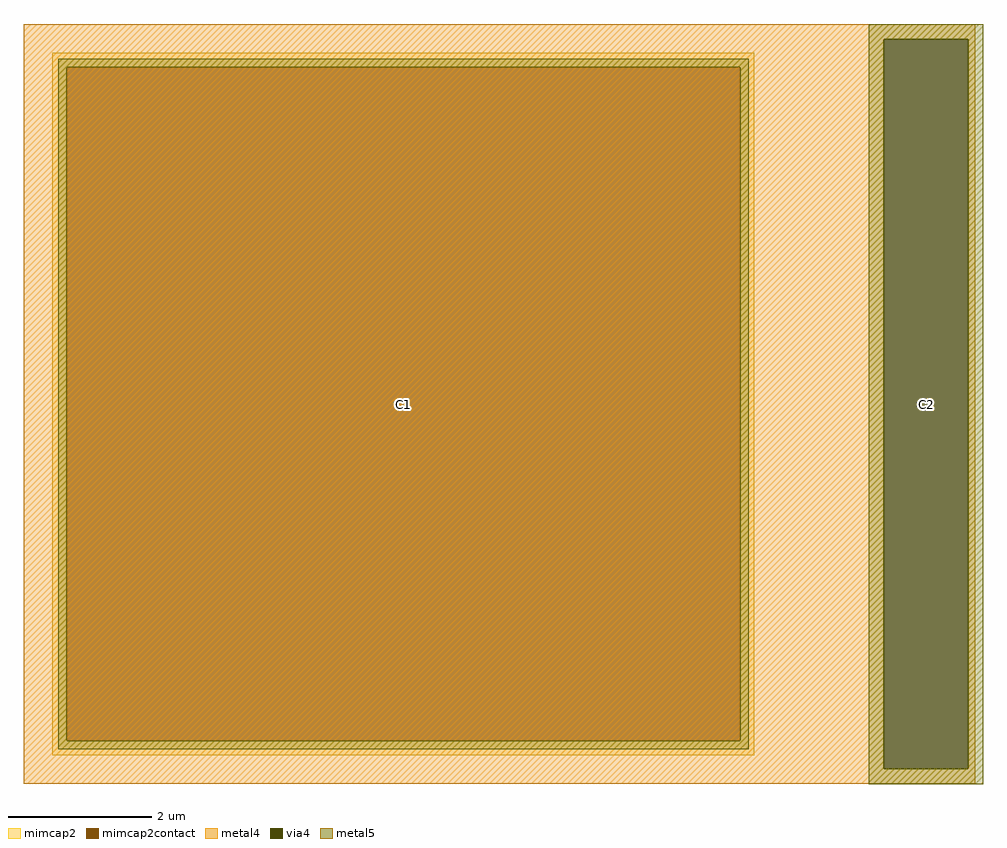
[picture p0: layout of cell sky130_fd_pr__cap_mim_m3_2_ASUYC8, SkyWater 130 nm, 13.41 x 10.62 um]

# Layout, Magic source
magic
tech sky130A
magscale 1 2
<< metal4 >>
rect -1330 1020 1330 1061
rect -1330 -1020 1074 1020
rect 1310 -1020 1330 1020
rect -1330 -1061 1330 -1020
<< via4 >>
rect 1074 -1020 1310 1020
<< mimcap2 >>
rect -1250 941 712 981
rect -1250 -941 -1210 941
rect 672 -941 712 941
rect -1250 -981 712 -941
<< mimcap2contact >>
rect -1210 -941 672 941
<< metal5 >>
rect 1032 1020 1352 1062
rect -1234 941 696 965
rect -1234 -941 -1210 941
rect 672 -941 696 941
rect -1234 -965 696 -941
rect 1032 -1020 1074 1020
rect 1310 -1020 1352 1020
rect 1032 -1062 1352 -1020
<< labels >>
rlabel via4 1192 0 1192 0 0 C2
port 1 nsew
rlabel mimcap2contact -269 0 -269 0 0 C1
port 2 nsew
<< properties >>
string FIXED_BBOX -1330 -1061 792 1061
string gencell sky130_fd_pr__cap_mim_m3_2
string library sky130
string parameters w 9.811 l 9.811 val 200.0 carea 2.00 cperi 0.19 class capacitor nx 1 ny 1 dummy 0 square 1 lmin 2.00 wmin 2.00 lmax 30.0 wmax 30.0 dc 0 bconnect 1 tconnect 1 ccov 100 doports 1
<< end >>
